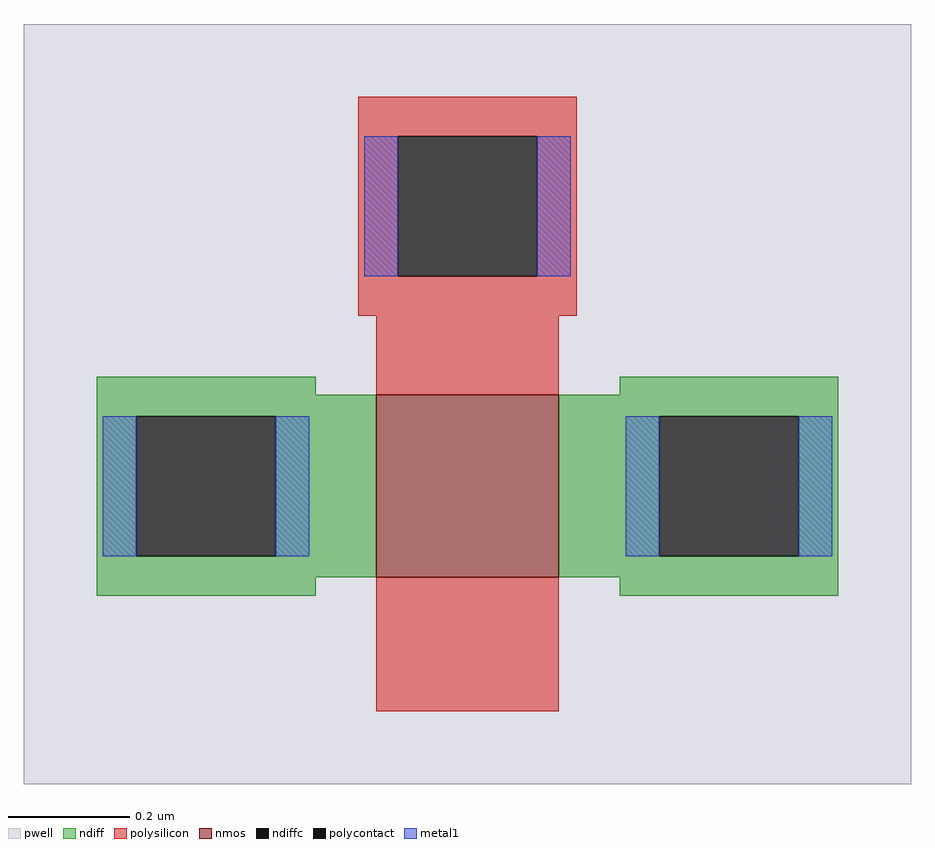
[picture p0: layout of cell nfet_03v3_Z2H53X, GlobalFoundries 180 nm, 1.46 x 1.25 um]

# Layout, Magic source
magic
tech gf180mcuD
magscale 1 10
<< pwell >>
rect -146 -125 146 125
<< nmos >>
rect -30 -57 30 3
<< ndiff >>
rect -122 3 -50 9
rect 50 3 122 9
rect -122 -4 -30 3
rect -122 -50 -109 -4
rect -63 -50 -30 -4
rect -122 -57 -30 -50
rect 30 -4 122 3
rect 30 -50 63 -4
rect 109 -50 122 -4
rect 30 -57 122 -50
rect -122 -63 -50 -57
rect 50 -63 122 -57
<< ndiffc >>
rect -109 -50 -63 -4
rect 63 -50 109 -4
<< polysilicon >>
rect -36 88 36 101
rect -36 42 -23 88
rect 23 42 36 88
rect -36 29 36 42
rect -30 3 30 29
rect -30 -101 30 -57
<< polycontact >>
rect -23 42 23 88
<< metal1 >>
rect -34 42 -23 88
rect 23 42 34 88
rect -120 -50 -109 -4
rect -63 -50 -52 -4
rect 52 -50 63 -4
rect 109 -50 120 -4
<< properties >>
string gencell nfet_03v3
string library gf180mcu
string parameters w .3 l .3 m 1 nf 1 diffcov 100 polycov 100 guard 0 glc 1 grc 1 gtc 0 gbc 0 tbcov 100 rlcov 100 topc 1 botc 0 poverlap 0 doverlap 1 lmin 0.28 wmin 0.22 class mosfet full_metal 0 compatible {nfet_03v3 nfet_05v0 nfet_06v0 nfet_06v0_nvt}
<< end >>
